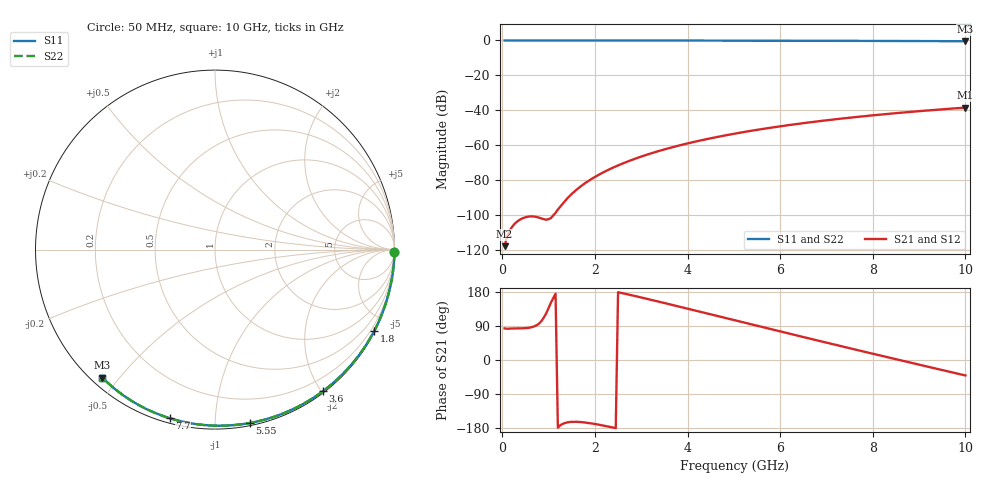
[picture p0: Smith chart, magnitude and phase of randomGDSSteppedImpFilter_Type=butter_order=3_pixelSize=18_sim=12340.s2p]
! freq	dB(S11)	phase(S11)	dB(S12)	phase(S12)
!  dB(S21)	phase(S21)	dB(S22)	phase(S22)
!S-par simulation data
#  GHz  S  DB  R 50
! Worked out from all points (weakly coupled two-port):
!   200 points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, 50 MHz to 10 GHz, reference 50 ohm
!   highest |S21| = -38.40 dB at 10 GHz (marker M1); lowest = -117.6 dB at 50 MHz (marker M2)
!   lowest |S11| = -0.4 dB at 10 GHz (marker M3), VSWR 39.08, Z = 1.54 - j22.6 ohm
!   |S11| at or under -10 dB: nowhere
!   |S22| runs from -0.4 to 0.0 dB; largest |S21 - S12| = 0
!   S11 on the Smith chart (normalised r, x): 50 MHz: open; 1.8 GHz: 0.04, -4.18; 3.6 GHz: 0.02, -2.02; 5.55 GHz: 0.02, -1.22; 7.7 GHz: 0.02, -0.77; 10 GHz: 0.03, -0.45
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0.05  -0.00 -0.8  -117.62 83.4  -117.62 83.4  -0.00 -0.8
0.9  -0.02 -13.6  -102.24 112.8  -102.24 112.8  -0.02 -13.6
1.75  -0.03 -26.2  -82.32 -164.5  -82.32 -164.5  -0.03 -26.2
1.8  -0.03 -26.9  -81.38 -165.2  -81.38 -165.2  -0.03 -26.9
1.85  -0.04 -27.7  -80.50 -166.0  -80.50 -166.0  -0.04 -27.6
1.9  -0.04 -28.4  -79.64 -166.9  -79.64 -166.9  -0.04 -28.4
2.05  -0.04 -30.6  -77.28 -170.0  -77.28 -170.0  -0.04 -30.6
2.25  -0.04 -33.5  -74.48 -174.6  -74.48 -174.6  -0.04 -33.5
2.45  -0.05 -36.4  -72.01 -179.8  -72.01 -179.8  -0.05 -36.4
2.65  -0.05 -39.3  -69.80 174.8  -69.80 174.8  -0.05 -39.2
3  -0.06 -44.2  -66.39 165.0  -66.39 165.0  -0.06 -44.2
3.4  -0.07 -49.9  -63.06 153.3  -63.06 153.3  -0.07 -49.8
3.6  -0.07 -52.7  -61.57 147.4  -61.57 147.4  -0.07 -52.6
4.3  -0.09 -62.2  -57.06 126.5  -57.06 126.5  -0.09 -62.2
5.05  -0.11 -72.2  -53.13 103.9  -53.13 103.9  -0.11 -72.1
5.55  -0.13 -78.6  -50.90 88.9  -50.90 88.9  -0.13 -78.6
6.1  -0.15 -85.6  -48.72 72.5  -48.72 72.5  -0.15 -85.6
6.7  -0.18 -93.0  -46.61 54.6  -46.61 54.6  -0.18 -93.0
7.7  -0.24 -105.0  -43.61 25.3  -43.61 25.3  -0.24 -105.0
8.35  -0.29 -112.6  -41.93 6.4  -41.93 6.4  -0.29 -112.6
9.15  -0.36 -121.8  -40.10 -16.6  -40.10 -16.6  -0.36 -121.7
10  -0.44 -131.4  -38.40 -40.8  -38.40 -40.8  -0.44 -131.3
